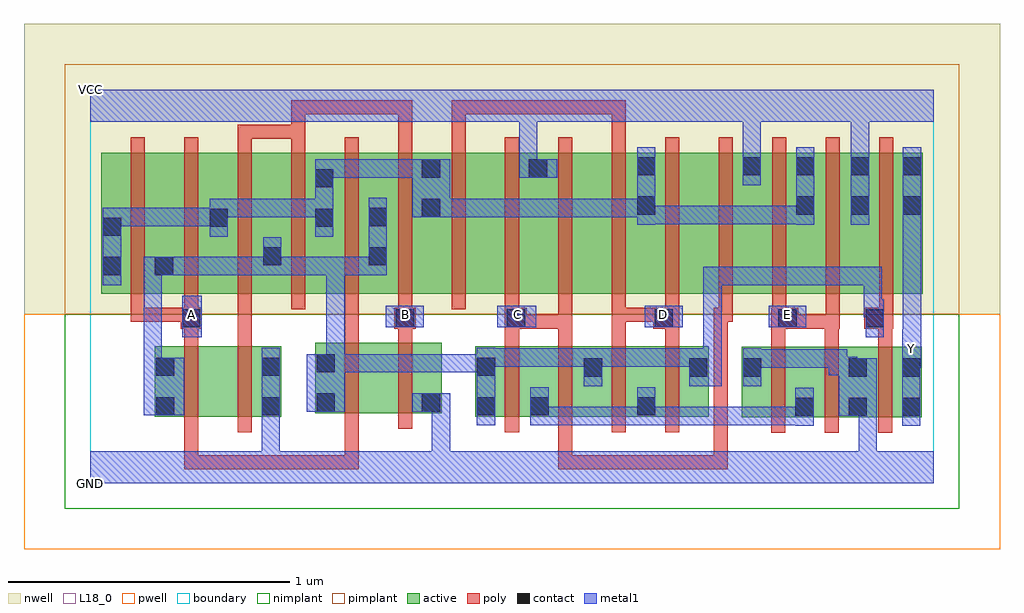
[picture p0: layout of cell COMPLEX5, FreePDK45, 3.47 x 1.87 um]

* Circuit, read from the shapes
.subckt COMPLEX5 A B C D E GND VCC Y
M1 n1 A n2 VSUBS nfet w=0.25u l=0.05u
M2 GND B n1 VSUBS nfet w=0.25u l=0.05u
M3 n3 A n2 VSUBS nfet w=0.25u l=0.05u
M4 GND B n3 VSUBS nfet w=0.25u l=0.05u
M5 n4 C n2 VSUBS nfet w=0.25u l=0.05u m=2
M6 n4 D n2 VSUBS nfet w=0.25u l=0.05u m=2
M7 n4 E GND VSUBS nfet w=0.25u l=0.05u m=2
M8 Y n2 GND VSUBS nfet w=0.25u l=0.05u
M9 n2 A n5 n6 pfet w=0.5u l=0.05u m=3
M10 n2 B n5 n6 pfet w=0.5u l=0.05u m=3
M11 n7 D n5 n6 pfet w=0.5u l=0.05u
M12 VCC C n7 n6 pfet w=0.5u l=0.05u
M13 n8 C VCC n6 pfet w=0.5u l=0.05u
M14 n5 D n8 n6 pfet w=0.5u l=0.05u
M15 n9 D n5 n6 pfet w=0.5u l=0.05u
M16 VCC C n9 n6 pfet w=0.5u l=0.05u
M17 n5 E VCC n6 pfet w=0.5u l=0.05u m=2
M18 Y n2 VCC n6 pfet w=0.5u l=0.05u
.ends

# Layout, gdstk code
import gdstk
lib = gdstk.Library(unit=1e-6, precision=1e-09)
def R(c, l, rs):  # rectangles x0, y0, x1, y1
    for r in rs: c.add(gdstk.rectangle(r[:2], r[2:], *l))
def A(c, l, x, y, w, h, nx, ny, dx, dy):  # array of equal rectangles
    R(c, l, [(x+i*dx, y+j*dy, x+i*dx+w, y+j*dy+h) for i in range(nx) for j in range(ny)])
active = (1, 0)
pwell = (2, 0)
nwell = (3, 0)
nimplant = (4, 0)
pimplant = (5, 0)
poly = (9, 0)
contact = (10, 0)
metal1 = (11, 0)
L18_0 = (18, 0)
boundary = (235, 0)

complex5 = lib.new_cell('COMPLEX5')
A(complex5, active, 1.37, 0.237, 0.265, 0.25, 3, 1, 0.19, 0)
R(complex5, active, [(2.317,0.235,2.577,0.485), (2.502,0.235,2.767,0.485), (2.502,0.235,2.577,0.342), (2.692,0.235,2.767,0.485), (2.692,0.235,2.957,0.485), (2.882,0.235,2.957,0.485), (0.23,0.237,0.305,0.487), (0.23,0.237,0.455,0.487), (0.455,0.237,0.68,0.487), (0.605,0.237,0.68,0.487), (1.37,0.237,1.445,0.487), (1.56,0.237,1.635,0.372), (1.94,0.237,2.2,0.487), (1.94,0.237,2.015,0.467), (0.8,0.25,0.875,0.5), (0.8,0.25,1.025,0.5), (1.025,0.25,1.25,0.5), (1.175,0.25,1.25,0.5), (1.75,0.297,1.825,0.45), (2.125,0.297,2.2,0.487), (2.317,0.297,2.392,0.485), (0.04,0.675,0.3,1.175), (0.04,0.675,0.115,1.175), (0.225,0.675,0.495,1.175), (0.225,0.675,0.3,1.07), (0.42,0.675,0.685,1.175), (0.61,0.675,0.87,1.175), (0.61,0.675,0.685,1.07), (0.795,0.675,0.87,1.175), (0.795,0.675,1.06,1.175), (0.985,0.675,1.25,1.175), (0.985,0.675,1.06,1.07), (1.175,0.675,1.25,1.175), (1.175,0.675,1.405,1.175), (1.405,0.675,1.63,1.175), (1.555,0.675,1.785,1.175), (1.785,0.675,2.015,1.175), (1.94,0.675,2.015,1.165), (1.94,0.675,2.165,1.175), (2.165,0.675,2.39,1.175), (2.315,0.675,2.58,1.175), (2.505,0.675,2.775,1.175), (2.7,0.675,2.96,1.175), (2.7,0.675,2.775,1.175), (2.885,0.675,2.96,1.165), (1.555,0.682,1.63,1.175), (0.42,0.697,0.495,1.175), (2.505,0.742,2.58,1.165), (2.315,0.807,2.39,1.175)])
R(complex5, pwell, [(-0.235,-0.235,3.235,0.602)])
R(complex5, nwell, [(-0.235,0.602,3.235,1.635)])
R(complex5, nimplant, [(-0.09,-0.09,3.09,0.602)])
R(complex5, pimplant, [(-0.09,0.602,3.09,1.49)])
A(complex5, poly, 2.422, 0.18, 0.05, 0.36, 3, 1, 0.19, 0)
A(complex5, poly, 1.475, 0.182, 0.05, 0.36, 4, 1, 0.19, 0)
A(complex5, poly, 2.422, 0.49, 0.05, 0.11, 3, 1, 0.19, 0)
A(complex5, poly, 1.095, 0.575, 0.05, 0.095, 3, 1, 0.38, 0)
A(complex5, poly, 2.045, 0.575, 0.05, 0.095, 3, 1, 0.19, 0)
A(complex5, poly, 0.145, 0.62, 0.05, 0.61, 15, 1, 0.19, 0)
R(complex5, poly, [(0.335,0.05,0.385,0.1), (0.335,0.05,0.385,0.1), (0.335,0.05,0.385,0.1), (0.335,0.05,0.385,0.232), (0.335,0.05,0.632,0.1), (0.582,0.05,0.632,0.1), (0.582,0.05,0.632,0.1), (0.582,0.05,0.632,0.1), (0.582,0.05,0.822,0.1), (0.772,0.05,0.822,0.1), (0.772,0.05,0.822,0.1), (0.772,0.05,0.822,0.1), (0.772,0.05,0.955,0.1), (0.905,0.05,0.955,0.1), (0.905,0.05,0.955,0.245), (1.665,0.05,1.715,0.1), (1.665,0.05,1.715,0.232), (1.665,0.05,1.905,0.1), (1.855,0.05,1.905,0.1), (1.855,0.05,1.905,0.1), (1.855,0.05,1.905,0.1), (1.855,0.05,2.037,0.1), (1.987,0.05,2.037,0.1), (1.987,0.05,2.037,0.1), (1.987,0.05,2.037,0.1), (1.987,0.05,2.267,0.1), (2.217,0.05,2.267,0.1), (2.217,0.05,2.267,0.1), (2.217,0.05,2.267,0.1), (2.217,0.05,2.267,0.1), (2.217,0.05,2.267,0.1), (2.217,0.05,2.267,0.625), (0.335,0.182,0.385,0.542), (0.525,0.182,0.575,0.542), (0.905,0.195,0.955,0.555), (1.095,0.195,1.145,0.555), (0.335,0.492,0.385,0.6), (0.525,0.492,0.575,0.587), (1.475,0.492,1.525,0.6), (1.665,0.492,1.715,0.6), (1.855,0.492,1.905,0.625), (2.045,0.492,2.095,0.6), (0.905,0.505,0.955,0.625), (1.095,0.505,1.145,0.6), (0.525,0.537,0.575,0.587), (0.525,0.537,0.575,0.67), (0.322,0.55,0.397,0.625), (1.082,0.55,1.157,0.625), (1.475,0.55,1.552,0.625), (1.502,0.55,1.715,0.6), (1.665,0.55,1.715,0.67), (1.665,0.55,1.715,0.6), (1.665,0.55,1.715,0.6), (1.665,0.55,1.715,0.6), (2.002,0.55,2.095,0.625), (2.422,0.55,2.517,0.625), (2.467,0.55,2.662,0.6), (2.467,0.55,2.517,0.6), (2.467,0.55,2.517,0.6), (2.612,0.55,2.665,0.6), (2.615,0.55,2.665,0.67), (2.752,0.55,2.855,0.625), (0.145,0.575,0.195,0.67), (0.145,0.575,0.195,0.625), (0.145,0.575,0.195,0.625), (0.145,0.575,0.195,0.625), (0.145,0.575,0.372,0.625), (0.335,0.575,0.385,0.67), (0.905,0.575,0.955,0.67), (0.905,0.575,0.955,0.625), (1.855,0.575,1.905,0.625), (1.855,0.575,2.052,0.625), (2.002,0.575,2.052,0.625), (2.002,0.575,2.052,0.625), (2.217,0.575,2.267,0.625), (2.217,0.575,2.267,0.625), (2.217,0.575,2.285,0.625), (2.805,0.575,2.855,0.67), (0.525,1.18,0.575,1.275), (0.715,1.18,0.765,1.275), (1.095,1.18,1.145,1.362), (1.285,1.18,1.335,1.362), (1.855,1.18,1.905,1.362), (0.525,1.225,0.575,1.275), (0.525,1.225,0.575,1.275), (0.525,1.225,0.575,1.275), (0.525,1.225,0.765,1.275), (0.715,1.225,0.765,1.362), (0.715,1.312,0.765,1.362), (0.715,1.312,0.765,1.362), (0.715,1.312,1,1.362), (0.95,1.312,1.145,1.362), (0.95,1.312,1,1.362), (0.95,1.312,1,1.362), (0.95,1.312,1,1.362), (1.095,1.312,1.145,1.362), (1.285,1.312,1.335,1.362), (1.285,1.312,1.335,1.362), (1.285,1.312,1.335,1.362), (1.285,1.312,1.582,1.362), (1.532,1.312,1.582,1.362), (1.532,1.312,1.582,1.362), (1.532,1.312,1.582,1.362), (1.532,1.312,1.772,1.362), (1.722,1.312,1.772,1.362), (1.722,1.312,1.847,1.362), (1.797,1.312,1.847,1.362), (1.797,1.312,1.905,1.362), (1.855,1.312,1.905,1.362)])
A(complex5, contact, 2.507, 0.24, 0.065, 0.065, 3, 1, 0.19, 0)
R(complex5, contact, [(0.235,0.242,0.3,0.307), (0.61,0.242,0.675,0.307), (1.375,0.242,1.44,0.307), (1.565,0.242,1.63,0.307), (1.945,0.242,2.01,0.307), (0.805,0.255,0.87,0.32), (1.18,0.255,1.245,0.32), (1.755,0.38,1.82,0.445), (2.13,0.38,2.195,0.445), (2.322,0.38,2.387,0.445), (2.697,0.38,2.762,0.445), (2.887,0.38,2.952,0.445), (0.235,0.382,0.3,0.447), (0.61,0.382,0.675,0.447), (1.375,0.382,1.44,0.447), (0.805,0.395,0.87,0.46), (0.327,0.555,0.392,0.62), (1.087,0.555,1.152,0.62), (1.482,0.555,1.547,0.62), (2.007,0.555,2.072,0.62), (2.447,0.555,2.512,0.62), (2.757,0.555,2.822,0.62), (0.045,0.74,0.11,0.805), (0.23,0.74,0.295,0.805), (0.615,0.775,0.68,0.84), (0.99,0.775,1.055,0.84), (0.045,0.88,0.11,0.945), (0.425,0.912,0.49,0.977), (0.8,0.912,0.865,0.977), (0.99,0.915,1.055,0.98), (1.18,0.947,1.245,1.012), (1.945,0.955,2.01,1.02), (2.51,0.955,2.575,1.02), (2.705,0.955,2.77,1.02), (2.89,0.955,2.955,1.02), (0.8,1.052,0.865,1.117), (1.18,1.087,1.245,1.152), (1.56,1.087,1.625,1.152), (1.945,1.095,2.01,1.16), (2.32,1.095,2.385,1.16), (2.51,1.095,2.575,1.16), (2.705,1.095,2.77,1.16), (2.89,1.095,2.955,1.16)])
R(complex5, metal1, [(0,0,3,0.115), (0.61,0.05,0.675,0.115), (0.61,0.05,0.675,0.115), (0.61,0.05,0.675,0.115), (0.61,0.05,0.675,0.115), (0.61,0.05,0.675,0.272), (1.215,0.05,1.28,0.115), (1.215,0.05,1.28,0.115), (1.215,0.05,1.28,0.32), (2.732,0.05,2.797,0.115), (2.732,0.05,2.797,0.115), (2.732,0.05,2.797,0.115), (2.732,0.05,2.797,0.115), (2.732,0.05,2.797,0.305), (2.507,0.205,2.572,0.34), (2.887,0.205,2.952,0.48), (0.61,0.207,0.675,0.482), (1.375,0.207,1.44,0.482), (1.565,0.207,1.63,0.272), (1.565,0.207,1.63,0.272), (1.565,0.207,1.63,0.342), (1.565,0.207,1.872,0.272), (1.807,0.207,1.872,0.272), (1.807,0.207,1.872,0.272), (1.807,0.207,1.872,0.272), (1.807,0.207,2.01,0.272), (1.945,0.207,2.01,0.272), (1.945,0.207,2.01,0.272), (1.945,0.207,2.01,0.342), (1.945,0.207,2.245,0.272), (2.18,0.207,2.245,0.272), (2.18,0.207,2.245,0.272), (2.18,0.207,2.245,0.272), (2.18,0.207,2.382,0.272), (2.317,0.207,2.382,0.272), (2.317,0.207,2.382,0.272), (2.317,0.207,2.382,0.272), (2.317,0.207,2.572,0.272), (2.662,0.24,2.797,0.445), (0.19,0.242,0.335,0.447), (0.77,0.255,0.905,0.46), (1.145,0.255,1.28,0.32), (1.215,0.255,1.28,0.32), (1.215,0.255,1.28,0.32), (1.755,0.345,1.82,0.48), (2.13,0.345,2.245,0.48), (2.322,0.345,2.387,0.48), (2.662,0.38,2.727,0.45), (0.19,0.382,0.255,0.447), (0.19,0.382,0.255,0.447), (0.19,0.382,0.255,0.805), (2.627,0.385,2.727,0.45), (2.627,0.385,2.692,0.477), (2.662,0.385,2.727,0.45), (0.84,0.395,0.905,0.46), (0.84,0.395,0.905,0.46), (0.84,0.395,1.072,0.46), (0.84,0.395,0.905,0.805), (1.007,0.395,1.072,0.46), (1.007,0.395,1.072,0.46), (1.007,0.395,1.072,0.46), (1.007,0.395,1.21,0.46), (1.145,0.395,1.21,0.46), (1.145,0.395,1.21,0.46), (1.145,0.395,1.21,0.46), (1.145,0.395,1.44,0.46), (2.322,0.412,2.387,0.477), (2.322,0.412,2.387,0.477), (2.322,0.412,2.525,0.477), (2.46,0.412,2.525,0.477), (2.46,0.412,2.692,0.477), (2.887,0.412,2.955,0.547), (1.375,0.415,1.44,0.48), (1.375,0.415,1.44,0.48), (1.375,0.415,1.577,0.48), (1.512,0.415,1.577,0.48), (1.512,0.415,1.577,0.48), (1.512,0.415,1.577,0.48), (1.512,0.415,1.82,0.48), (1.755,0.415,1.82,0.48), (1.755,0.415,1.82,0.48), (1.755,0.415,2.057,0.48), (1.992,0.415,2.057,0.48), (1.992,0.415,2.057,0.48), (1.992,0.415,2.057,0.48), (1.992,0.415,2.195,0.48), (2.18,0.415,2.245,0.77), (2.887,0.415,2.952,0.48), (2.89,0.482,2.955,0.985), (0.327,0.52,0.397,0.667), (2.757,0.52,2.822,0.655), (1.052,0.555,1.187,0.632), (1.447,0.555,1.587,0.632), (1.972,0.555,2.107,0.632), (2.412,0.555,2.547,0.632), (2.75,0.59,2.815,0.655), (2.75,0.59,2.822,0.655), (2.75,0.59,2.815,0.77), (0.045,0.705,0.11,0.98), (2.18,0.705,2.245,0.77), (2.18,0.705,2.245,0.77), (2.18,0.705,2.245,0.77), (2.18,0.705,2.245,0.77), (2.18,0.705,2.245,0.77), (2.18,0.705,2.382,0.77), (2.317,0.705,2.382,0.77), (2.317,0.705,2.382,0.77), (2.317,0.705,2.382,0.77), (2.317,0.705,2.525,0.77), (2.46,0.705,2.525,0.77), (2.46,0.705,2.525,0.77), (2.46,0.705,2.525,0.77), (2.46,0.705,2.815,0.77), (2.75,0.705,2.815,0.77), (0.19,0.74,0.33,0.805), (0.265,0.74,0.33,0.805), (0.265,0.74,0.33,0.805), (0.265,0.74,0.467,0.805), (0.402,0.74,0.467,0.805), (0.402,0.74,0.467,0.805), (0.402,0.74,0.467,0.805), (0.402,0.74,0.68,0.805), (0.615,0.74,0.68,0.805), (0.615,0.74,0.68,0.805), (0.615,0.74,0.68,0.875), (0.615,0.74,0.905,0.805), (0.84,0.74,0.905,0.805), (0.84,0.74,0.905,0.805), (0.84,0.74,0.905,0.805), (0.84,0.74,0.905,0.805), (0.84,0.74,0.905,0.805), (0.84,0.74,1.055,0.805), (0.99,0.74,1.055,1.015), (0.425,0.877,0.49,1.012), (0.8,0.877,0.865,1.152), (0.045,0.915,0.11,0.98), (0.045,0.915,0.11,0.98), (0.045,0.915,0.267,0.98), (0.202,0.915,0.267,0.98), (0.202,0.915,0.267,0.98), (0.202,0.915,0.267,0.98), (0.202,0.915,0.49,0.98), (1.945,0.92,2.01,1.195), (2.51,0.92,2.575,1.195), (2.705,0.92,2.77,1.195), (2.89,0.92,2.955,1.195), (1.945,0.922,2.01,0.987), (1.945,0.922,2.01,0.987), (1.945,0.922,2.245,0.987), (2.18,0.922,2.245,0.987), (2.18,0.922,2.245,0.987), (2.18,0.922,2.245,0.987), (2.18,0.922,2.382,0.987), (2.317,0.922,2.382,0.987), (2.317,0.922,2.382,0.987), (2.317,0.922,2.382,0.987), (2.317,0.922,2.575,0.987), (0.425,0.947,0.49,1.012), (0.425,0.947,0.49,1.012), (0.425,0.947,0.65,1.012), (0.585,0.947,0.65,1.012), (0.585,0.947,0.65,1.012), (0.585,0.947,0.65,1.012), (0.585,0.947,0.865,1.012), (1.145,0.947,1.28,1.152), (1.215,0.947,1.28,1.012), (1.215,0.947,1.28,1.012), (1.215,0.947,1.417,1.012), (1.352,0.947,1.417,1.012), (1.352,0.947,1.417,1.012), (1.352,0.947,1.417,1.012), (1.352,0.947,1.63,1.012), (1.565,0.947,1.63,1.012), (1.565,0.947,1.63,1.012), (1.565,0.947,1.63,1.012), (1.565,0.947,1.767,1.012), (1.702,0.947,1.767,1.012), (1.702,0.947,1.767,1.012), (1.702,0.947,1.767,1.012), (1.702,0.947,2.01,1.012), (2.32,1.06,2.385,1.195), (0.8,1.087,0.865,1.152), (0.8,1.087,0.865,1.152), (0.8,1.087,1.072,1.152), (1.007,1.087,1.072,1.152), (1.007,1.087,1.072,1.152), (1.007,1.087,1.072,1.152), (1.007,1.087,1.21,1.152), (1.525,1.087,1.59,1.35), (1.525,1.087,1.66,1.152), (2.32,1.13,2.385,1.35), (2.705,1.13,2.77,1.35), (0,1.285,3,1.4), (1.525,1.285,1.59,1.35), (1.525,1.285,1.59,1.35), (2.32,1.285,2.385,1.35), (2.32,1.285,2.385,1.35), (2.705,1.285,2.77,1.35), (2.705,1.285,2.77,1.35)])
R(complex5, L18_0, [(0,0,3,0.115), (0.61,0.05,0.675,0.115), (0.61,0.05,0.675,0.115), (0.61,0.05,0.675,0.115), (0.61,0.05,0.675,0.115), (0.61,0.05,0.675,0.272), (1.215,0.05,1.28,0.115), (1.215,0.05,1.28,0.115), (1.215,0.05,1.28,0.32), (2.732,0.05,2.797,0.115), (2.732,0.05,2.797,0.115), (2.732,0.05,2.797,0.115), (2.732,0.05,2.797,0.115), (2.732,0.05,2.797,0.305), (2.887,0.205,2.952,0.48), (0.61,0.207,0.675,0.482), (2.662,0.24,2.797,0.445), (1.145,0.255,1.28,0.32), (1.215,0.255,1.28,0.32), (1.215,0.255,1.28,0.32), (2.322,0.345,2.387,0.48), (2.662,0.38,2.727,0.45), (2.627,0.385,2.692,0.477), (2.627,0.385,2.727,0.45), (2.662,0.385,2.727,0.45), (2.322,0.412,2.387,0.477), (2.322,0.412,2.387,0.477), (2.322,0.412,2.525,0.477), (2.46,0.412,2.525,0.477), (2.46,0.412,2.692,0.477), (2.887,0.412,2.955,0.547), (2.887,0.415,2.952,0.48), (2.887,0.447,2.952,0.512), (2.89,0.482,2.955,0.985), (0.327,0.52,0.397,0.667), (1.052,0.555,1.187,0.632), (1.447,0.555,1.587,0.632), (1.972,0.555,2.107,0.632), (2.412,0.555,2.547,0.632), (0.327,0.567,0.392,0.632), (1.087,0.567,1.152,0.632), (1.487,0.567,1.552,0.632), (2.007,0.567,2.072,0.632), (2.447,0.567,2.512,0.632), (2.705,0.92,2.77,1.195), (2.89,0.92,2.955,1.195), (2.32,1.06,2.385,1.195), (1.525,1.087,1.66,1.152), (1.525,1.087,1.59,1.35), (2.32,1.13,2.385,1.35), (2.705,1.13,2.77,1.35), (0,1.285,3,1.4), (1.525,1.285,1.59,1.35), (1.525,1.285,1.59,1.35), (2.32,1.285,2.385,1.35), (2.32,1.285,2.385,1.35), (2.705,1.285,2.77,1.35), (2.705,1.285,2.77,1.35)])
R(complex5, boundary, [(0,0,3,1.4)])
complex5.add(gdstk.Label('A', (0.36,0.6), layer=11, texttype=0))
complex5.add(gdstk.Label('B', (1.12,0.6), layer=11, texttype=0))
complex5.add(gdstk.Label('C', (1.52,0.6), layer=11, texttype=0))
complex5.add(gdstk.Label('D', (2.04,0.6), layer=11, texttype=0))
complex5.add(gdstk.Label('E', (2.48,0.6), layer=11, texttype=0))
complex5.add(gdstk.Label('Y', (2.92,0.48), layer=11, texttype=0))
complex5.add(gdstk.Label('VCC', (0,1.4), layer=11, texttype=0))
complex5.add(gdstk.Label('GND', (0,0), layer=11, texttype=0))

lib.write_gds('COMPLEX5.gds')
